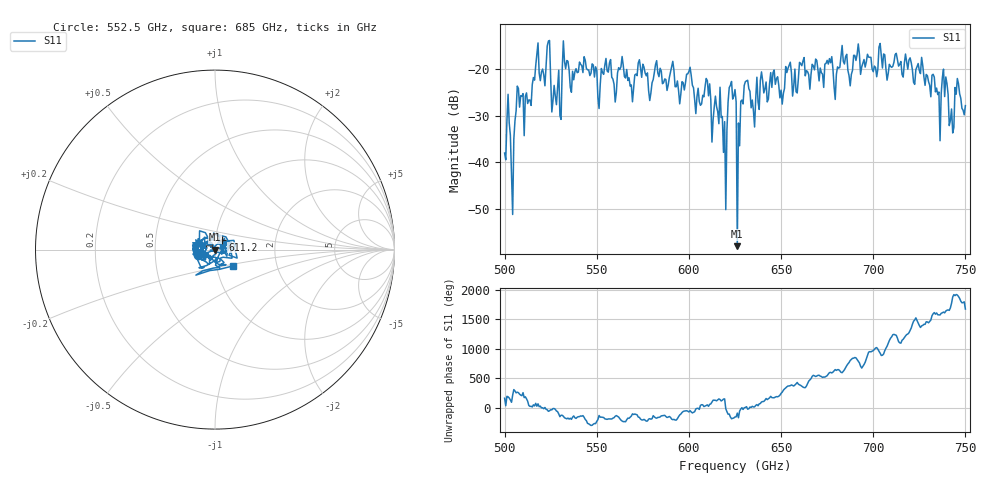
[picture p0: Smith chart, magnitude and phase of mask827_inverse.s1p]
!Created with skrf (http://scikit-rf.org).
# GHz S MA R 50.0
!freq magS11 angS11
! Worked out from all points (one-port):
!   401 points, 500 GHz to 750 GHz, reference 50 ohm
!   lowest |S11| = -57.9 dB at 626.2 GHz (marker M1), VSWR 1.00, Z = 50 - j0.127 ohm
!   |S11| at or under -10 dB: start of sweep to end of sweep
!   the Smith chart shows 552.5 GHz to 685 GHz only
!   S11 on the Smith chart (normalised r, x): 552.5 GHz: 0.82, -0.05; 611.2 GHz: 1.08, +0.12; 685 GHz: 1.20, -0.22
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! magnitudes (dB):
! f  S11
! 500 GHz  -38.0
! 501.9 GHz  -25.4
! 504.4 GHz  -51.1
! 507.5 GHz  -24.2
! 511.9 GHz  -25.1
! 516.9 GHz  -19.3
! 523.8 GHz  -14.1
! 526.9 GHz  -23.5
! 531.2 GHz  -20.2
! 552.5 GHz  -19.9
! 562.5 GHz  -20.2
! 593.8 GHz  -22.6
! 611.2 GHz  -23.2
! 619.4 GHz  -31.3
! 623.8 GHz  -26.5
! 625 GHz  -24.4
! 626.2 GHz  -57.9
! 631.2 GHz  -22.6
! 635 GHz  -29.0
! 656.2 GHz  -25.8
! 685 GHz  -17.4
! 687.5 GHz  -23.6
! 718.8 GHz  -20.1
! 735 GHz  -25.5
! 738.8 GHz  -25.9
! 742.5 GHz  -28.6
! 745.6 GHz  -22.1
! 750 GHz  -27.9
